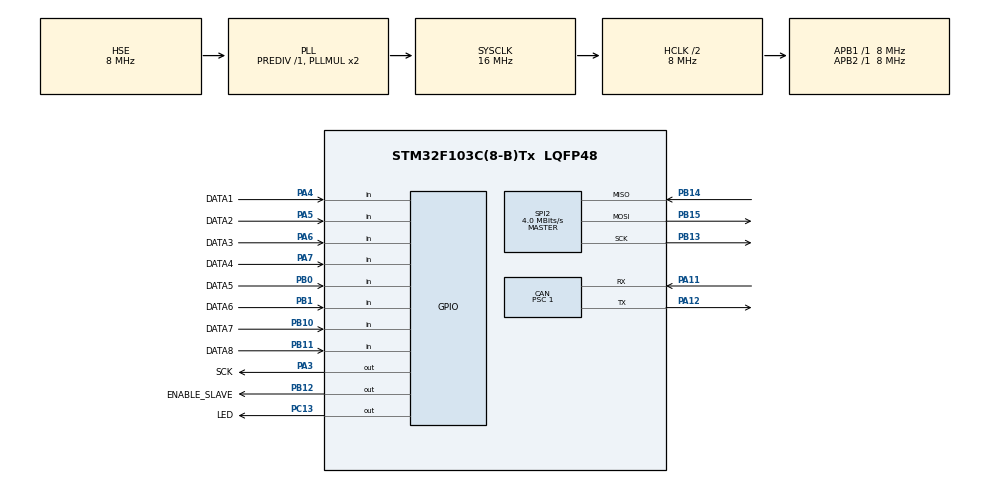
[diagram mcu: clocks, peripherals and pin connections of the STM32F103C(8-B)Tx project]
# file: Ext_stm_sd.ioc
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CAN.BS1=CAN_BS1_6TQ
CAN.CalculateTimeBit=1000
CAN.CalculateTimeQuantum=125.0
CAN.Prescaler=1
Mcu.Family=STM32F1
Mcu.Name=STM32F103C(8-B)Tx
Mcu.Package=LQFP48
NVIC.PriorityGroup=NVIC_PRIORITYGROUP_4
NVIC.SPI2_IRQn=true\:0\:0\:false\:false\:true\:true
NVIC.TIM3_IRQn=true\:0\:0\:false\:false\:true\:true
NVIC.USB_HP_CAN1_TX_IRQn=true\:0\:0\:false\:false\:true\:true
NVIC.USB_LP_CAN1_RX0_IRQn=true\:0\:0\:false\:false\:true\:true
PA11.Mode=Master
PA11.Signal=CAN_RX
PA12.Mode=Master
PA12.Signal=CAN_TX
PA13.Mode=Serial_Wire
PA13.Signal=SYS_JTMS-SWDIO
PA14.Mode=Serial_Wire
PA14.Signal=SYS_JTCK-SWCLK
PA3.GPIO_Label=SCK
PA3.Signal=GPIO_Output
PA4.GPIO_Label=DATA1
PA4.Signal=GPIO_Input
PA5.GPIO_Label=DATA2
PA5.Signal=GPIO_Input
PA6.GPIO_Label=DATA3
PA6.Signal=GPIO_Input
PA7.GPIO_Label=DATA4
PA7.Signal=GPIO_Input
PB0.GPIO_Label=DATA5
PB0.Signal=GPIO_Input
PB1.GPIO_Label=DATA6
PB1.Signal=GPIO_Input
PB10.GPIO_Label=DATA7
PB10.Signal=GPIO_Input
PB11.GPIO_Label=DATA8
PB11.Signal=GPIO_Input
PB12.GPIO_Label=ENABLE_SLAVE
PB12.Signal=GPIO_Output
PB13.Mode=Full_Duplex_Master
PB13.Signal=SPI2_SCK
PB14.Mode=Full_Duplex_Master
PB14.Signal=SPI2_MISO
PB15.Mode=Full_Duplex_Master
PB15.Signal=SPI2_MOSI
PC13-TAMPER-RTC.GPIO_Label=LED
PC13-TAMPER-RTC.Signal=GPIO_Output
PD0-OSC_IN.Mode=HSE-External-Oscillator
PD0-OSC_IN.Signal=RCC_OSC_IN
PD1-OSC_OUT.Mode=HSE-External-Oscillator
PD1-OSC_OUT.Signal=RCC_OSC_OUT
ProjectManager.HeapSize=0x200
ProjectManager.StackSize=0x400
ProjectManager.TargetToolchain=SW4STM32
RCC.AHBCLKDivider=RCC_SYSCLK_DIV2
RCC.AHBFreq_Value=8000000
RCC.APB1Freq_Value=8000000
RCC.APB1TimFreq_Value=8000000
RCC.APB2Freq_Value=8000000
RCC.APB2TimFreq_Value=8000000
RCC.HCLKFreq_Value=8000000
RCC.PLLSourceVirtual=RCC_PLLSOURCE_HSE
RCC.SYSCLKFreq_VALUE=16000000
RCC.SYSCLKSource=RCC_SYSCLKSOURCE_PLLCLK
RCC.USBFreq_Value=16000000
SPI2.BaudRatePrescaler=SPI_BAUDRATEPRESCALER_2
SPI2.CLKPhase=SPI_PHASE_2EDGE
SPI2.CLKPolarity=SPI_POLARITY_HIGH
SPI2.CalculateBaudRate=4.0 MBits/s
SPI2.Direction=SPI_DIRECTION_2LINES
SPI2.Mode=SPI_MODE_MASTER
SPI2.VirtualType=VM_MASTER
TIM3.Period=99
TIM3.Prescaler=4000
VP_TIM3_VS_ClockSourceINT.Mode=Internal
board=Ext_stm_sd

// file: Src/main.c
/**
  ******************************************************************************
  * @file           : main.c
  * @brief          : Main program body
  ******************************************************************************
  ** This notice applies to any and all portions of this file
  * that are not between comment pairs USER CODE BEGIN and
  * USER CODE END. Other portions of this file, whether
  * inserted by the user or by software development tools
  * are owned by their respective copyright owners.
  *
  * COPYRIGHT(c) 2018 STMicroelectronics
  *
  * Redistribution and use in source and binary forms, with or without modification,
  * are permitted provided that the following conditions are met:
  *   1. Redistributions of source code must retain the above copyright notice,
  *      this list of conditions and the following disclaimer.
  *   2. Redistributions in binary form must reproduce the above copyright notice,
  *      this list of conditions and the following disclaimer in the documentation
  *      and/or other materials provided with the distribution.
  *   3. Neither the name of STMicroelectronics nor the names of its contributors
  *      may be used to endorse or promote products derived from this software
  *      without specific prior written permission.
  *
  * THIS SOFTWARE IS PROVIDED BY THE COPYRIGHT HOLDERS AND CONTRIBUTORS "AS IS"
  * AND ANY EXPRESS OR IMPLIED WARRANTIES, INCLUDING, BUT NOT LIMITED TO, THE
  * IMPLIED WARRANTIES OF MERCHANTABILITY AND FITNESS FOR A PARTICULAR PURPOSE ARE
  * DISCLAIMED. IN NO EVENT SHALL THE COPYRIGHT HOLDER OR CONTRIBUTORS BE LIABLE
  * FOR ANY DIRECT, INDIRECT, INCIDENTAL, SPECIAL, EXEMPLARY, OR CONSEQUENTIAL
  * DAMAGES (INCLUDING, BUT NOT LIMITED TO, PROCUREMENT OF SUBSTITUTE GOODS OR
  * SERVICES; LOSS OF USE, DATA, OR PROFITS; OR BUSINESS INTERRUPTION) HOWEVER
  * CAUSED AND ON ANY THEORY OF LIABILITY, WHETHER IN CONTRACT, STRICT LIABILITY,
  * OR TORT (INCLUDING NEGLIGENCE OR OTHERWISE) ARISING IN ANY WAY OUT OF THE USE
  * OF THIS SOFTWARE, EVEN IF ADVISED OF THE POSSIBILITY OF SUCH DAMAGE.
  *
  ******************************************************************************
  */
#include "main.h"
#include "stm32f1xx_hal.h"

/* USER CODE BEGIN Includes */
#include "string.h"
/* USER CODE END Includes */

CAN_HandleTypeDef hcan;

SPI_HandleTypeDef hspi2;

TIM_HandleTypeDef htim3;

/* USER CODE BEGIN PV */
/* Private define ------------------------------------------------------------*/
enum {
	TRANSFER_WAIT,
	TRANSFER_COMPLETE,
	TRANSFER_ERROR
};
/* Private variables ---------------------------------------------------------*/
unsigned long result1=0, result2=0, result3=0, result4=0, result5=2, result6=2, result7=2, result8=2;
unsigned long initial_value[8] = {0,0,0,0,0,0,0,0};
char ext_result[100];
unsigned long time;
char aRxBuffer[100];
int PACK2=0;
uint16_t TIMERCOUNT = 0;
/* transfer state */
__IO uint32_t wTransferState = TRANSFER_WAIT;
/* USER CODE END PV */

void SystemClock_Config(void);
static void MX_GPIO_Init(void);
static void MX_SPI2_Init(void);
static void MX_TIM3_Init(void);
static void MX_CAN_Init(void);

/* USER CODE BEGIN PFP */
/* Private function prototypes -----------------------------------------------*/
void HAL_SPI_TxRxCpltCallback(SPI_HandleTypeDef *hspi);
void HAL_SPI_ErrorCallback(SPI_HandleTypeDef *hspi);
unsigned long converte(GPIO_TypeDef* SCKPort, uint16_t SCKPin, GPIO_TypeDef* DATAPort, uint16_t DATAPin);

static void CAN_Config(void);
void sendNumber(int n);
void HAL_CAN_RxCpltCallback(CAN_HandleTypeDef *hcan);

/* USER CODE END PFP */

/* USER CODE BEGIN 0 */
#define EN_SPI()   HAL_GPIO_WritePin(ENABLE_SLAVE_GPIO_Port, ENABLE_SLAVE_Pin, GPIO_PIN_RESET);
#define DIS_SPI()  HAL_GPIO_WritePin(ENABLE_SLAVE_GPIO_Port, ENABLE_SLAVE_Pin, GPIO_PIN_SET);
/* USER CODE END 0 */

int main(void)
{

  /* MCU Configuration----------------------------------------------------------*/

  /* Reset of all peripherals, Initializes the Flash interface and the Systick. */
  HAL_Init();

  /* Configure the system clock */
  SystemClock_Config();

  /* Initialize all configured peripherals */
  MX_GPIO_Init();
  MX_SPI2_Init();
  MX_TIM3_Init();
  MX_CAN_Init();
  /* USER CODE BEGIN 2 */

  CAN_Config();

  //reseta o Hx711
  HAL_GPIO_WritePin(SCK_GPIO_Port, SCK_Pin, GPIO_PIN_SET);
  HAL_Delay(50);
  HAL_GPIO_WritePin(SCK_GPIO_Port, SCK_Pin, GPIO_PIN_RESET);
  hspi2.Init.Mode = SPI_MODE_MASTER;
  __HAL_SPI_ENABLE(&hspi2);

  DIS_SPI();

  /* Sinaliza para timer começar a contagem. Ignorar essa parte */
//  HAL_TIM_Base_Start_IT(&htim3);

// int j;

 /* Faz a media dos 10 primeiros valores*/
//for(j = 0;j<10; j++){
//	 result1 = converte(SCK_GPIO_Port, SCK_Pin, DATA1_GPIO_Port, DATA1_Pin)+ result1;
// result2 = converte(SCK_GPIO_Port, SCK_Pin, DATA2_GPIO_Port, DATA2_Pin)+ result2;
////	  HAL_Delay(20);
// result3 = converte(SCK_GPIO_Port, SCK_Pin, DATA3_GPIO_Port, DATA3_Pin)+ result3;
// result4 = converte(SCK_GPIO_Port, SCK_Pin, DATA4_GPIO_Port, DATA4_Pin)+ result4;
////////	 result5 = converte(SCK_GPIO_Port, SCK_Pin, DATA1_GPIO_Port, DATA1_Pin)+ result5;
////////	 result6 = converte(SCK_GPIO_Port, SCK_Pin, DATA2_GPIO_Port, DATA2_Pin)+ result6;
////////	 result7 = converte(SCK_GPIO_Port, SCK_Pin, DATA1_GPIO_Port, DATA1_Pin)+ result7;
////////	 result8 = converte(SCK_GPIO_Port, SCK_Pin, DATA2_GPIO_Port, DATA2_Pin)+ result8;
////
// }
////
// 	initial_value[0] = result1/10;
// 	initial_value[1] = result2/10;
// 	initial_value[2] = result3/10;
// 	initial_value[3] = result4/10;
//// 	initial_value[4] = result5/10;
//// 	initial_value[5] = result6/10;
//// 	initial_value[6] = result7/10;
//// 	initial_value[7] = result8/10;

  //if (HAL_CAN_Receive_IT(&hcan, CAN_FIFO0) != HAL_OK)
  //	  {
  	  //  Error_Handler();
  //	  }

  /* USER CODE END 2 */

  /* Infinite loop */
  /* USER CODE BEGIN WHILE */
  while (1)
  {
	  /* Pega valores de 2 HX e subtrai do valor inicial */
	  result1 = converte(SCK_GPIO_Port, SCK_Pin, DATA1_GPIO_Port, DATA1_Pin) - initial_value[0];
	  result2 = converte(SCK_GPIO_Port, SCK_Pin, DATA2_GPIO_Port, DATA2_Pin)- initial_value[1];

	  /* Envia primeiro pacote pela CAN */
	  sendNumber(0);

	  /* Pega valores de 2 HX e subtrai do valor inicial */
	  result3 = converte(SCK_GPIO_Port, SCK_Pin, DATA3_GPIO_Port, DATA3_Pin) - initial_value[2];
	  result4 = converte(SCK_GPIO_Port, SCK_Pin, DATA4_GPIO_Port, DATA4_Pin) - initial_value[3];

	  /* Envia segundo pacote pela CAN */
	  sendNumber(1);

	  result5 = converte(SCK_GPIO_Port, SCK_Pin, DATA5_GPIO_Port, DATA5_Pin) - initial_value[2];
	  result6 = converte(SCK_GPIO_Port, SCK_Pin, DATA6_GPIO_Port, DATA6_Pin) - initial_value[3];

	  sendNumber(2);

	  result7 = converte(SCK_GPIO_Port, SCK_Pin, DATA7_GPIO_Port, DATA7_Pin) - initial_value[2];
	  // result8 = converte(SCK_GPIO_Port, SCK_Pin, DATA8_GPIO_Port, DATA8_Pin) - initial_value[3];

	  sendNumber(3);

	  time = HAL_GetTick(); // tempo em milisegundos
	  // coloca o valor lido e o tempo na string ext_result
	  sprintf(ext_result, "%lu\t%lu\t%lu\t%lu\t%lu\t%lu\t%lu\t%d\t%d\n", result1, result2, result3,result4,result5,result6,result7, time, TIMERCOUNT);
	  // imprime o valor e o tempo no monitor serial
	  //HAL_UART_Transmit(&huart2, (uint8_t*)ext_result, (unsigned)strlen(ext_result), 100);

	  // Habilita o slave (arduino)
	  EN_SPI();

	  /* Inicia a comunicação SPI com o Atmega
	   * Envia dados pelo ext_result e recebe dados pelo aRxBuffer
	   */
	  if(HAL_SPI_TransmitReceive_IT(&hspi2, (uint8_t*)ext_result, (uint8_t *)aRxBuffer, 100) != HAL_OK)
	  {
	      // Erro na transmissão
		  Error_Handler();
	  }

	  /* Espera a transmissão acabar */
	  while (wTransferState == TRANSFER_WAIT)
	  {
//		  HAL_GPIO_TogglePin(LED_GPIO_Port, LED_Pin);
//		  HAL_Delay(500);
	  }

	  switch(wTransferState)
	  {
	    case TRANSFER_COMPLETE :
	      // Transmissão finalizada com sucesso
	    break;
	    default : // TRANSFER_ERROR
	      Error_Handler();
	    break;
	  }

	  DIS_SPI(); // Desabilita o slave

	  HAL_Delay(2); // Sincronização

  /* USER CODE END WHILE */

  }

}

void SystemClock_Config(void)
{

  RCC_OscInitTypeDef RCC_OscInitStruct;
  RCC_ClkInitTypeDef RCC_ClkInitStruct;

    /**Initializes the CPU, AHB and APB busses clocks
    */
  RCC_OscInitStruct.OscillatorType = RCC_OSCILLATORTYPE_HSE;
  RCC_OscInitStruct.HSEState = RCC_HSE_ON;
  RCC_OscInitStruct.HSEPredivValue = RCC_HSE_PREDIV_DIV1;
  RCC_OscInitStruct.HSIState = RCC_HSI_ON;
  RCC_OscInitStruct.PLL.PLLState = RCC_PLL_ON;
  RCC_OscInitStruct.PLL.PLLSource = RCC_PLLSOURCE_HSE;
  RCC_OscInitStruct.PLL.PLLMUL = RCC_PLL_MUL2;
  if (HAL_RCC_OscConfig(&RCC_OscInitStruct) != HAL_OK)
  {
    _Error_Handler(__FILE__, __LINE__);
  }

    /**Initializes the CPU, AHB and APB busses clocks
    */
  RCC_ClkInitStruct.ClockType = RCC_CLOCKTYPE_HCLK|RCC_CLOCKTYPE_SYSCLK
                              |RCC_CLOCKTYPE_PCLK1|RCC_CLOCKTYPE_PCLK2;
  RCC_ClkInitStruct.SYSCLKSource = RCC_SYSCLKSOURCE_PLLCLK;
  RCC_ClkInitStruct.AHBCLKDivider = RCC_SYSCLK_DIV2;
  RCC_ClkInitStruct.APB1CLKDivider = RCC_HCLK_DIV1;
  RCC_ClkInitStruct.APB2CLKDivider = RCC_HCLK_DIV1;

  if (HAL_RCC_ClockConfig(&RCC_ClkInitStruct, FLASH_LATENCY_0) != HAL_OK)
  {
    _Error_Handler(__FILE__, __LINE__);
  }

    /**Configure the Systick interrupt time
    */
  HAL_SYSTICK_Config(HAL_RCC_GetHCLKFreq()/1000);

    /**Configure the Systick
    */
  HAL_SYSTICK_CLKSourceConfig(SYSTICK_CLKSOURCE_HCLK);

  /* SysTick_IRQn interrupt configuration */
  HAL_NVIC_SetPriority(SysTick_IRQn, 0, 0);
}

/* CAN init function */
static void MX_CAN_Init(void)
{

  hcan.Instance = CAN1;
  hcan.Init.Prescaler = 1;
  hcan.Init.Mode = CAN_MODE_NORMAL;
  hcan.Init.SJW = CAN_SJW_1TQ;
  hcan.Init.BS1 = CAN_BS1_6TQ;
  hcan.Init.BS2 = CAN_BS2_1TQ;
  hcan.Init.TTCM = DISABLE;
  hcan.Init.ABOM = ENABLE;
  hcan.Init.AWUM = DISABLE;
  hcan.Init.NART = DISABLE;
  hcan.Init.RFLM = DISABLE;
  hcan.Init.TXFP = DISABLE;
  if (HAL_CAN_Init(&hcan) != HAL_OK)
  {
    _Error_Handler(__FILE__, __LINE__);
  }

}

/* SPI2 init function */
static void MX_SPI2_Init(void)
{

  /* SPI2 parameter configuration*/
  hspi2.Instance = SPI2;
  hspi2.Init.Mode = SPI_MODE_MASTER;
  hspi2.Init.Direction = SPI_DIRECTION_2LINES;
  hspi2.Init.DataSize = SPI_DATASIZE_8BIT;
  hspi2.Init.CLKPolarity = SPI_POLARITY_HIGH;
  hspi2.Init.CLKPhase = SPI_PHASE_2EDGE;
  hspi2.Init.NSS = SPI_NSS_SOFT;
  hspi2.Init.BaudRatePrescaler = SPI_BAUDRATEPRESCALER_2;
  hspi2.Init.FirstBit = SPI_FIRSTBIT_MSB;
  hspi2.Init.TIMode = SPI_TIMODE_DISABLE;
  hspi2.Init.CRCCalculation = SPI_CRCCALCULATION_DISABLE;
  hspi2.Init.CRCPolynomial = 10;
  if (HAL_SPI_Init(&hspi2) != HAL_OK)
  {
    _Error_Handler(__FILE__, __LINE__);
  }

}

/* TIM3 init function */
static void MX_TIM3_Init(void)
{

  TIM_ClockConfigTypeDef sClockSourceConfig;
  TIM_MasterConfigTypeDef sMasterConfig;

  htim3.Instance = TIM3;
  htim3.Init.Prescaler = 4000;
  htim3.Init.CounterMode = TIM_COUNTERMODE_UP;
  htim3.Init.Period = 99;
  htim3.Init.ClockDivision = TIM_CLOCKDIVISION_DIV1;
  htim3.Init.AutoReloadPreload = TIM_AUTORELOAD_PRELOAD_DISABLE;
  if (HAL_TIM_Base_Init(&htim3) != HAL_OK)
  {
    _Error_Handler(__FILE__, __LINE__);
  }

  sClockSourceConfig.ClockSource = TIM_CLOCKSOURCE_INTERNAL;
  if (HAL_TIM_ConfigClockSource(&htim3, &sClockSourceConfig) != HAL_OK)
  {
    _Error_Handler(__FILE__, __LINE__);
  }

  sMasterConfig.MasterOutputTrigger = TIM_TRGO_RESET;
  sMasterConfig.MasterSlaveMode = TIM_MASTERSLAVEMODE_DISABLE;
  if (HAL_TIMEx_MasterConfigSynchronization(&htim3, &sMasterConfig) != HAL_OK)
  {
    _Error_Handler(__FILE__, __LINE__);
  }

}

/** Configure pins as
        * Analog
        * Input
        * Output
        * EVENT_OUT
        * EXTI
*/
static void MX_GPIO_Init(void)
{

  GPIO_InitTypeDef GPIO_InitStruct;

  /* GPIO Ports Clock Enable */
  __HAL_RCC_GPIOC_CLK_ENABLE();
  __HAL_RCC_GPIOD_CLK_ENABLE();
  __HAL_RCC_GPIOA_CLK_ENABLE();
  __HAL_RCC_GPIOB_CLK_ENABLE();

  /*Configure GPIO pin Output Level */
  HAL_GPIO_WritePin(LED_GPIO_Port, LED_Pin, GPIO_PIN_RESET);

  /*Configure GPIO pin Output Level */
  HAL_GPIO_WritePin(SCK_GPIO_Port, SCK_Pin, GPIO_PIN_RESET);

  /*Configure GPIO pin Output Level */
  HAL_GPIO_WritePin(ENABLE_SLAVE_GPIO_Port, ENABLE_SLAVE_Pin, GPIO_PIN_RESET);

  /*Configure GPIO pin : LED_Pin */
  GPIO_InitStruct.Pin = LED_Pin;
  GPIO_InitStruct.Mode = GPIO_MODE_OUTPUT_PP;
  GPIO_InitStruct.Pull = GPIO_NOPULL;
  GPIO_InitStruct.Speed = GPIO_SPEED_FREQ_LOW;
  HAL_GPIO_Init(LED_GPIO_Port, &GPIO_InitStruct);

  /*Configure GPIO pin : SCK_Pin */
  GPIO_InitStruct.Pin = SCK_Pin;
  GPIO_InitStruct.Mode = GPIO_MODE_OUTPUT_PP;
  GPIO_InitStruct.Pull = GPIO_NOPULL;
  GPIO_InitStruct.Speed = GPIO_SPEED_FREQ_LOW;
  HAL_GPIO_Init(SCK_GPIO_Port, &GPIO_InitStruct);

  /*Configure GPIO pins : DATA1_Pin DATA2_Pin DATA3_Pin DATA4_Pin */
  GPIO_InitStruct.Pin = DATA1_Pin|DATA2_Pin|DATA3_Pin|DATA4_Pin;
  GPIO_InitStruct.Mode = GPIO_MODE_INPUT;
  GPIO_InitStruct.Pull = GPIO_NOPULL;
  HAL_GPIO_Init(GPIOA, &GPIO_InitStruct);

  /*Configure GPIO pins : DATA5_Pin DATA6_Pin DATA7_Pin DATA8_Pin */
  GPIO_InitStruct.Pin = DATA5_Pin|DATA6_Pin|DATA7_Pin|DATA8_Pin;
  GPIO_InitStruct.Mode = GPIO_MODE_INPUT;
  GPIO_InitStruct.Pull = GPIO_NOPULL;
  HAL_GPIO_Init(GPIOB, &GPIO_InitStruct);

  /*Configure GPIO pin : ENABLE_SLAVE_Pin */
  GPIO_InitStruct.Pin = ENABLE_SLAVE_Pin;
  GPIO_InitStruct.Mode = GPIO_MODE_OUTPUT_PP;
  GPIO_InitStruct.Pull = GPIO_NOPULL;
  GPIO_InitStruct.Speed = GPIO_SPEED_FREQ_LOW;
  HAL_GPIO_Init(ENABLE_SLAVE_GPIO_Port, &GPIO_InitStruct);

}

/* USER CODE BEGIN 4 */
/* Função de interrupção da transmissão/recepção */
void HAL_SPI_TxRxCpltCallback(SPI_HandleTypeDef *hspi)
{
//  HAL_GPIO_TogglePin(LED_GPIO_Port, LED_Pin);
  wTransferState = TRANSFER_COMPLETE;
  HAL_GPIO_WritePin(LED_GPIO_Port, LED_Pin, GPIO_PIN_SET);
}

/* Função de interrupção de erro */
void HAL_SPI_ErrorCallback(SPI_HandleTypeDef *hspi)
{
  wTransferState = TRANSFER_ERROR;
}

static void CAN_Config(void){

  CAN_FilterConfTypeDef  sFilterConfig;
  static CanTxMsgTypeDef        TxMessage;     //--
  static CanRxMsgTypeDef        RxMessage;     //-- codigo original

  /*##-1- Configure the CAN peripheral #######################################*/
   hcan.pTxMsg = &TxMessage;     //-- codigo original
   hcan.pRxMsg = &RxMessage;	  // --

  /*##-2- Configure the CAN Filter ###########################################*/
  sFilterConfig.FilterNumber = 0;
  sFilterConfig.FilterMode = CAN_FILTERMODE_IDMASK;
  sFilterConfig.FilterScale = CAN_FILTERSCALE_32BIT;
  sFilterConfig.FilterIdHigh = 0x0000;
  sFilterConfig.FilterIdLow = 0x0000;
  sFilterConfig.FilterMaskIdHigh = 0x0000;
  sFilterConfig.FilterMaskIdLow = 0x0000;
  sFilterConfig.FilterFIFOAssignment = 0;
  sFilterConfig.FilterActivation = ENABLE;
  sFilterConfig.BankNumber = 14;

  if (HAL_CAN_ConfigFilter(&hcan, &sFilterConfig) != HAL_OK)
  {
    /* Filter configuration Error */
    Error_Handler();
  }

  /*##-3- Configure Transmission process #####################################*/
  hcan.pTxMsg->StdId = 0x001;
  hcan.pTxMsg->ExtId = 0x300<<19;
  hcan.pTxMsg->RTR = CAN_RTR_DATA;
  /*configurando como extended id (29 bits)*/
  hcan.pTxMsg->IDE = CAN_ID_EXT;
  hcan.pTxMsg->DLC = 8;
}

/* Monta os pacotes CAN e envia */
void sendNumber(int n){

	if(n == 0){
		hcan.pTxMsg->Data[0] = 0xA;
		hcan.pTxMsg->Data[1] = result1>>16;
		hcan.pTxMsg->Data[2] = result1>>8;
		hcan.pTxMsg->Data[3] = result1;
		hcan.pTxMsg->Data[4] = 0xAA;
		hcan.pTxMsg->Data[5] = result2>>16;
		hcan.pTxMsg->Data[6] = result2>>8;
		hcan.pTxMsg->Data[7] = result2;

}
	else if (n==1){
		hcan.pTxMsg->Data[0] = 0xB;
		hcan.pTxMsg->Data[1] = result3>>16;
		hcan.pTxMsg->Data[2] = result3>>8;
		hcan.pTxMsg->Data[3] = result3;
		hcan.pTxMsg->Data[4] = 0xBB;
		hcan.pTxMsg->Data[5] = result4>>16;
		hcan.pTxMsg->Data[6] = result4>>8;
		hcan.pTxMsg->Data[7] = result4;
	}
	else if (n==2){
			hcan.pTxMsg->Data[0] = 0xC;
			hcan.pTxMsg->Data[1] = result5>>16;
			hcan.pTxMsg->Data[2] = result5>>8;
			hcan.pTxMsg->Data[3] = result5;
			hcan.pTxMsg->Data[4] = 0xCC;
			hcan.pTxMsg->Data[5] = result6>>16;
			hcan.pTxMsg->Data[6] = result6>>8;
			hcan.pTxMsg->Data[7] = result6;
		}
	else if (n==3){
			hcan.pTxMsg->Data[0] = 0xD;
			hcan.pTxMsg->Data[1] = result7>>16;
			hcan.pTxMsg->Data[2] = result7>>8;
			hcan.pTxMsg->Data[3] = result7;
			hcan.pTxMsg->Data[4] = 0xDD;
			hcan.pTxMsg->Data[5] = result8>>16;
			hcan.pTxMsg->Data[6] = result8>>8;
			hcan.pTxMsg->Data[7] = result8;
		}
		 /* Start the Transmission process */

		 if (HAL_CAN_Transmit_IT(&hcan) != HAL_OK)
		 {
		   /* Transmition Error. Se deu erro no envio o LED 13 vai piscar */
			 HAL_GPIO_TogglePin(GPIOC, GPIO_PIN_13);

		 }

}

void HAL_CAN_TxCpltCallback (CAN_HandleTypeDef * hcan){

}

/*void HAL_CAN_RxCpltCallback(CAN_HandleTypeDef *hcan)
{
	if (((hcan->pRxMsg->ExtId) >> 19) == 0x301){
		TIMERCOUNT = (hcan->pRxMsg->Data[0]<<8) | (hcan->pRxMsg->Data[1]);
	}
	if (HAL_CAN_Receive_IT(hcan, CAN_FIFO0) != HAL_OK)
	  {
	    Error_Handler();
	  }
}*/

//void HAL_TIM_PeriodElapsedCallback(TIM_HandleTypeDef *htim){
//	cnt++;
//	sprintf(ext_result, "%lu\t%lu\t%lu\t%lu\t%lu\n", result1, result2, result3, result4, cnt);
//	// Habilita o slave (arduino)
//	EN_SPI();
//
//	/* Inicia a comunicação SPI
//	* Envia dados pelo ext_result e recebe dados pelo aRxBuffer
//	*/
//	if(HAL_SPI_TransmitReceive_IT(&hspi2, (uint8_t*)ext_result, (uint8_t *)aRxBuffer, 50) != HAL_OK)
//	{
//	  // Erro na transmissão
//	  Error_Handler();
//	}
//
//	/* Espera a transmissão acabar */
//	while (wTransferState == TRANSFER_WAIT)
//	{
//	//		  HAL_GPIO_TogglePin(LED_GPIO_Port, LED_Pin);
//	//		  HAL_Delay(500);
//	}
//
//	switch(wTransferState)
//	{
//	case TRANSFER_COMPLETE :
//	  // Transmissão finalizada com sucesso
//	break;
//	default : // TRANSFER_ERROR
//	  Error_Handler();
//	break;
//	}
//
//	DIS_SPI(); // Desabilita o slave
//
//}

/* Função de captura dos dados do HX711 */
unsigned long converte(GPIO_TypeDef* SCKPort, uint16_t SCKPin, GPIO_TypeDef* DATAPort, uint16_t DATAPin){
	unsigned long captura = 0;
	int i;

	HAL_GPIO_WritePin(SCKPort, SCKPin, GPIO_PIN_RESET);

	while(HAL_GPIO_ReadPin(DATAPort, DATAPin)); // espera DATA ser LOW para iniciar o envio de dados

	for(i = 0; i < 24; i++){ // 24 pulsos
		HAL_GPIO_WritePin(SCKPort, SCKPin, GPIO_PIN_SET);
		captura = captura << 1;
		HAL_GPIO_WritePin(SCKPort, SCKPin, GPIO_PIN_RESET);
		if(HAL_GPIO_ReadPin(DATAPort, DATAPin)) captura++;
	}

	// ultimo pulso: encerra o envio de dados
	HAL_GPIO_WritePin(SCKPort, SCKPin, GPIO_PIN_SET);
	captura = captura^0x0800000;
	HAL_GPIO_WritePin(SCKPort, SCKPin, GPIO_PIN_RESET);

	return captura;
}
/* USER CODE END 4 */

void _Error_Handler(char *file, int line)
{
  /* USER CODE BEGIN Error_Handler_Debug */
  /* User can add his own implementation to report the HAL error return state */
  while(1)
  {
	  //HAL_GPIO_TogglePin(LED_GPIO_Port, LED_Pin);
	//  HAL_Delay(200);
	  break;
  }
  /* USER CODE END Error_Handler_Debug */
}

/************************ (C) COPYRIGHT STMicroelectronics *****END OF FILE****/
